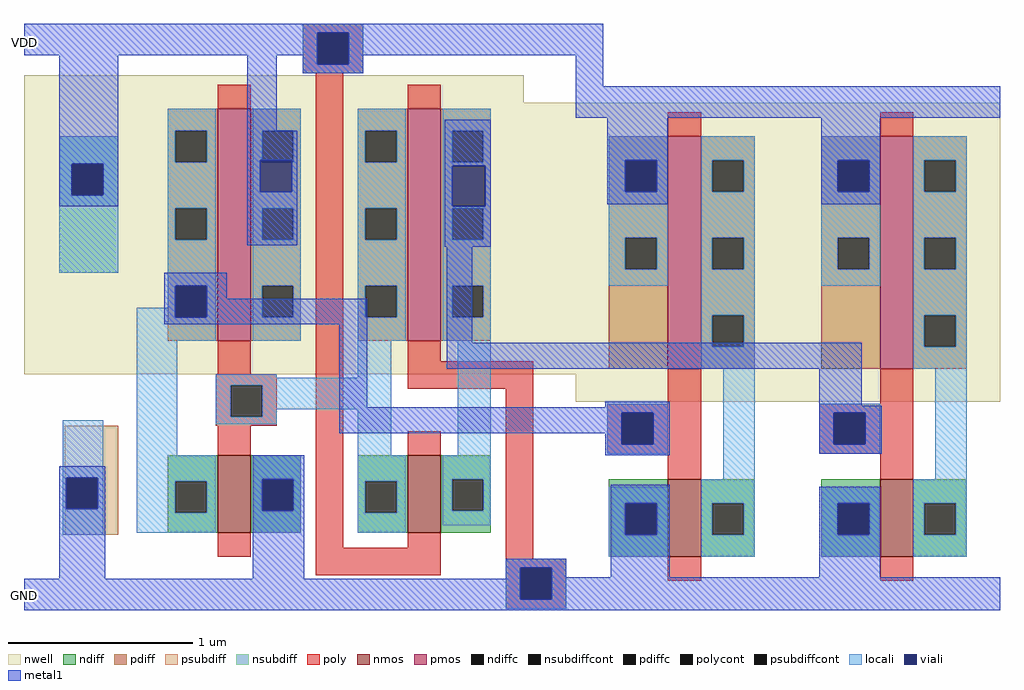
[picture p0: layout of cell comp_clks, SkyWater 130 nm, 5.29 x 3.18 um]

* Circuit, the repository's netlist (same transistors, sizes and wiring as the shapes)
* SPICE3 file created from /home/sky/fossi_cochlea/mag/clkgen/comp_clks.ext - technology: sky130A

X0 inv3x_0/a_16_n22# a_594_618# GND GND sky130_fd_pr__nfet_01v8 ad=0p pd=0u as=0p ps=0u w=420000u l=180000u
X1 inv3x_0/a_16_n22# a_594_618# VDD VDD sky130_fd_pr__pfet_01v8 ad=0p pd=0u as=0p ps=0u w=1.26e+06u l=180000u
X2 inv3x_1/a_16_n22# a_890_618# GND GND sky130_fd_pr__nfet_01v8 ad=0p pd=0u as=0p ps=0u w=420000u l=180000u
X3 inv3x_1/a_16_n22# a_890_618# VDD VDD sky130_fd_pr__pfet_01v8 ad=0p pd=0u as=0p ps=0u w=1.26e+06u l=180000u
X4 GND a_646_734# a_594_618# GND sky130_fd_pr__nfet_01v8 ad=0p pd=0u as=0p ps=0u w=420000u l=180000u
X5 VDD a_646_734# a_594_618# VDD sky130_fd_pr__pfet_01v8 ad=0p pd=0u as=0p ps=0u w=1.26e+06u l=180000u
X6 a_890_618# VDD a_646_734# GND sky130_fd_pr__nfet_01v8 ad=0p pd=0u as=0p ps=0u w=420000u l=180000u
X7 a_890_618# GND a_646_734# VDD sky130_fd_pr__pfet_01v8 ad=0p pd=0u as=0p ps=0u w=1.26e+06u l=180000u

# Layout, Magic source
magic
tech sky130A
<< nwell >>
rect 219 542 490 557
rect 219 395 531 542
<< nmos >>
rect 324 309 342 351
rect 427 309 445 351
<< pmos >>
rect 324 413 342 539
rect 427 413 445 539
<< ndiff >>
rect 297 337 324 351
rect 297 320 301 337
rect 318 320 324 337
rect 297 309 324 320
rect 342 338 369 351
rect 342 321 348 338
rect 365 321 369 338
rect 342 309 369 321
rect 400 337 427 351
rect 400 320 404 337
rect 421 320 427 337
rect 400 309 427 320
rect 445 338 472 351
rect 445 321 451 338
rect 468 321 472 338
rect 445 309 472 321
<< pdiff >>
rect 297 527 324 539
rect 297 510 301 527
rect 318 510 324 527
rect 297 485 324 510
rect 297 468 301 485
rect 318 468 324 485
rect 297 443 324 468
rect 297 426 301 443
rect 318 426 324 443
rect 297 413 324 426
rect 342 527 369 539
rect 342 510 348 527
rect 365 510 369 527
rect 342 485 369 510
rect 342 468 348 485
rect 365 468 369 485
rect 342 443 369 468
rect 342 426 348 443
rect 365 426 369 443
rect 342 413 369 426
rect 400 527 427 539
rect 400 510 404 527
rect 421 510 427 527
rect 400 485 427 510
rect 400 468 404 485
rect 421 468 427 485
rect 400 443 427 468
rect 400 426 404 443
rect 421 426 427 443
rect 400 413 427 426
rect 445 527 472 539
rect 445 510 451 527
rect 468 510 472 527
rect 445 485 472 510
rect 445 468 451 485
rect 468 468 472 485
rect 445 443 472 468
rect 445 426 451 443
rect 468 426 472 443
rect 445 413 472 426
<< ndiffc >>
rect 301 320 318 337
rect 348 321 365 338
rect 404 320 421 337
rect 451 321 468 338
<< pdiffc >>
rect 301 510 318 527
rect 301 468 318 485
rect 301 426 318 443
rect 348 510 365 527
rect 348 468 365 485
rect 348 426 365 443
rect 404 510 421 527
rect 404 468 421 485
rect 404 426 421 443
rect 451 510 468 527
rect 451 468 468 485
rect 451 426 468 443
<< psubdiff >>
rect 241 339 270 367
rect 241 322 242 339
rect 259 322 270 339
rect 241 308 270 322
<< nsubdiff >>
rect 238 509 270 524
rect 238 492 245 509
rect 262 492 270 509
rect 238 450 270 492
<< psubdiffcont >>
rect 242 322 259 339
<< nsubdiffcont >>
rect 245 492 262 509
<< poly >>
rect 370 580 403 585
rect 370 563 378 580
rect 395 563 403 580
rect 370 558 403 563
rect 324 539 342 552
rect 324 395 342 413
rect 323 389 356 395
rect 323 372 331 389
rect 348 372 356 389
rect 323 367 356 372
rect 324 351 342 367
rect 324 296 342 309
rect 377 301 392 558
rect 427 539 445 552
rect 427 402 445 413
rect 427 387 495 402
rect 427 351 445 364
rect 427 301 445 309
rect 377 286 445 301
rect 480 295 495 387
rect 480 290 513 295
rect 480 273 488 290
rect 505 273 513 290
rect 480 268 513 273
<< polycont >>
rect 378 563 395 580
rect 331 372 348 389
rect 658 357 675 374
rect 488 273 505 290
<< locali >>
rect 370 580 403 585
rect 370 563 378 580
rect 395 563 403 580
rect 370 558 403 563
rect 297 527 323 539
rect 238 509 270 524
rect 238 492 245 509
rect 262 492 270 509
rect 238 450 270 492
rect 297 510 301 527
rect 318 510 323 527
rect 297 485 323 510
rect 297 468 301 485
rect 318 468 323 485
rect 297 443 323 468
rect 297 431 301 443
rect 280 426 301 431
rect 318 426 323 443
rect 280 413 323 426
rect 343 527 369 539
rect 343 511 348 527
rect 343 494 347 511
rect 365 510 369 527
rect 364 494 369 510
rect 343 485 369 494
rect 343 468 348 485
rect 365 468 369 485
rect 343 443 369 468
rect 343 426 348 443
rect 365 426 369 443
rect 343 413 369 426
rect 400 527 426 539
rect 400 510 404 527
rect 421 510 426 527
rect 400 485 426 510
rect 400 468 404 485
rect 421 468 426 485
rect 400 443 426 468
rect 400 426 404 443
rect 421 426 426 443
rect 400 413 426 426
rect 446 527 472 539
rect 446 510 451 527
rect 468 510 472 527
rect 446 508 472 510
rect 446 486 451 508
rect 469 486 472 508
rect 446 485 472 486
rect 446 468 451 485
rect 468 468 472 485
rect 446 443 472 468
rect 446 426 451 443
rect 468 426 472 443
rect 446 413 472 426
rect 240 339 262 370
rect 240 322 242 339
rect 259 322 262 339
rect 240 308 262 322
rect 280 351 302 413
rect 323 393 356 395
rect 400 393 418 413
rect 323 389 418 393
rect 323 372 331 389
rect 348 376 418 389
rect 348 372 356 376
rect 323 368 356 372
rect 400 351 418 376
rect 454 351 472 413
rect 280 337 323 351
rect 280 320 301 337
rect 318 320 323 337
rect 280 309 323 320
rect 343 338 369 351
rect 343 321 348 338
rect 365 321 369 338
rect 343 309 369 321
rect 400 337 426 351
rect 400 320 404 337
rect 421 320 426 337
rect 400 309 426 320
rect 446 338 472 351
rect 446 321 451 338
rect 468 321 472 338
rect 446 313 472 321
rect 480 290 513 295
rect 480 273 488 290
rect 505 273 513 290
rect 480 268 513 273
<< viali >>
rect 378 563 395 580
rect 245 492 262 509
rect 301 426 318 443
rect 347 510 348 511
rect 348 510 364 511
rect 347 494 364 510
rect 451 486 469 508
rect 545 494 562 511
rect 660 494 677 511
rect 242 322 259 339
rect 543 357 560 374
rect 658 357 675 374
rect 348 321 365 338
rect 545 308 562 325
rect 660 308 677 325
rect 488 273 505 290
<< metal1 >>
rect 219 580 533 585
rect 219 568 378 580
rect 238 509 270 568
rect 238 492 245 509
rect 262 492 270 509
rect 238 486 270 492
rect 340 527 356 568
rect 370 563 378 568
rect 395 568 533 580
rect 395 563 403 568
rect 370 558 403 563
rect 518 534 533 568
rect 340 511 367 527
rect 340 494 347 511
rect 364 494 367 511
rect 340 465 367 494
rect 447 508 472 533
rect 447 486 451 508
rect 469 486 472 508
rect 535 511 568 545
rect 535 494 545 511
rect 562 494 568 511
rect 535 487 568 494
rect 651 511 683 545
rect 651 494 660 511
rect 677 494 683 511
rect 651 487 683 494
rect 447 464 472 486
rect 295 443 329 450
rect 295 426 301 443
rect 318 436 329 443
rect 318 426 405 436
rect 295 422 405 426
rect 390 377 405 422
rect 448 412 462 464
rect 448 398 673 412
rect 534 377 569 380
rect 390 374 569 377
rect 390 363 543 374
rect 534 357 543 363
rect 560 357 569 374
rect 534 351 569 357
rect 650 378 673 398
rect 650 374 684 378
rect 650 357 658 374
rect 675 357 684 374
rect 650 352 684 357
rect 238 339 263 345
rect 238 322 242 339
rect 259 322 263 339
rect 238 284 263 322
rect 343 338 371 351
rect 343 321 348 338
rect 365 321 371 338
rect 343 284 371 321
rect 537 325 569 335
rect 537 308 545 325
rect 562 308 569 325
rect 480 290 513 295
rect 480 284 488 290
rect 219 273 488 284
rect 505 285 513 290
rect 505 284 522 285
rect 505 273 518 284
rect 537 273 569 308
rect 650 325 683 334
rect 650 308 660 325
rect 677 308 683 325
rect 219 267 518 273
rect 650 269 683 308
use inv3x  inv3x_0
transform 1 0 578 0 1 307
box -60 -40 55 244
use inv3x  inv3x_1
transform 1 0 693 0 1 307
box -60 -40 55 244
<< labels >>
rlabel metal1 219 575 219 575 7 VDD
rlabel metal1 219 275 219 275 7 GND
<< end >>

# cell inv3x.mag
magic
tech sky130A
<< nwell >>
rect -60 73 55 235
<< nmos >>
rect -10 -11 8 31
<< pmos >>
rect -10 91 8 217
<< ndiff >>
rect -42 18 -10 31
rect -42 1 -33 18
rect -16 1 -10 18
rect -42 -11 -10 1
rect 8 18 37 31
rect 8 1 14 18
rect 31 1 37 18
rect 8 -11 37 1
<< pdiff >>
rect -42 204 -10 217
rect -42 187 -33 204
rect -16 187 -10 204
rect -42 162 -10 187
rect -42 145 -33 162
rect -16 145 -10 162
rect -42 91 -10 145
rect 8 204 37 217
rect 8 187 14 204
rect 31 187 37 204
rect 8 162 37 187
rect 8 145 14 162
rect 31 145 37 162
rect 8 120 37 145
rect 8 103 14 120
rect 31 103 37 120
rect 8 91 37 103
<< ndiffc >>
rect -33 1 -16 18
rect 14 1 31 18
<< pdiffc >>
rect -33 187 -16 204
rect -33 145 -16 162
rect 14 187 31 204
rect 14 145 31 162
rect 14 103 31 120
<< poly >>
rect -10 217 8 230
rect -10 72 8 91
rect -43 67 8 72
rect -43 50 -35 67
rect -18 50 8 67
rect -43 45 8 50
rect -10 31 8 45
rect -10 -24 8 -11
<< polycont >>
rect -35 50 -18 67
<< locali >>
rect -42 204 -10 217
rect -42 187 -33 204
rect -16 187 -10 204
rect -42 162 -10 187
rect -42 145 -33 162
rect -16 145 -10 162
rect -42 136 -10 145
rect 8 204 37 217
rect 8 187 14 204
rect 31 187 37 204
rect 8 162 37 187
rect 8 145 14 162
rect 31 145 37 162
rect 8 120 37 145
rect 8 103 14 120
rect 31 103 37 120
rect 8 91 37 103
rect -43 67 -10 72
rect -43 50 -35 67
rect -18 50 -10 67
rect -43 45 -10 50
rect 20 31 37 91
rect -42 18 -10 27
rect -42 1 -33 18
rect -16 1 -10 18
rect -42 -11 -10 1
rect 8 18 37 31
rect 8 1 14 18
rect 31 1 37 18
rect 8 -11 37 1
<< metal1 >>
rect -60 227 55 244
rect -60 -40 55 -22
<< end >>
